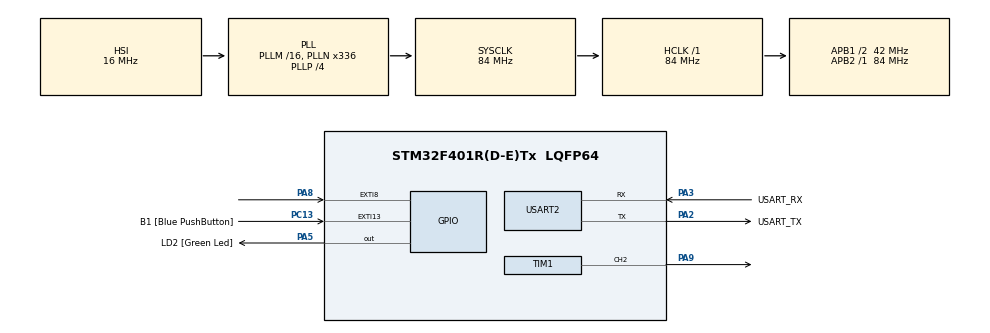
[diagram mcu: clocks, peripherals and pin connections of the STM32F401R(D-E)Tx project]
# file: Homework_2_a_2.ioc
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Mcu.Family=STM32F4
Mcu.Name=STM32F401R(D-E)Tx
Mcu.Package=LQFP64
NVIC.EXTI9_5_IRQn=true\:0\:0\:false\:false\:true\:true\:true\:true
NVIC.PriorityGroup=NVIC_PRIORITYGROUP_0
PA13.GPIO_Label=TMS
PA13.Mode=Serial_Wire
PA13.Signal=SYS_JTMS-SWDIO
PA14.GPIO_Label=TCK
PA14.Mode=Serial_Wire
PA14.Signal=SYS_JTCK-SWCLK
PA2.GPIO_Label=USART_TX
PA2.GPIO_Mode=GPIO_MODE_AF_PP
PA2.GPIO_PuPd=GPIO_NOPULL
PA2.GPIO_Speed=GPIO_SPEED_FREQ_LOW
PA2.Mode=Asynchronous
PA2.Signal=USART2_TX
PA3.GPIO_Label=USART_RX
PA3.GPIO_Mode=GPIO_MODE_AF_PP
PA3.GPIO_PuPd=GPIO_NOPULL
PA3.GPIO_Speed=GPIO_SPEED_FREQ_LOW
PA3.Mode=Asynchronous
PA3.Signal=USART2_RX
PA5.GPIO_Label=LD2 [Green Led]
PA5.GPIO_Mode=GPIO_MODE_OUTPUT_PP
PA5.GPIO_PuPd=GPIO_NOPULL
PA5.GPIO_Speed=GPIO_SPEED_FREQ_LOW
PA5.Signal=GPIO_Output
PA8.Signal=GPXTI8
PA9.Signal=S_TIM1_CH2
PB3.GPIO_Label=SWO
PB3.Signal=SYS_JTDO-SWO
PC13-ANTI_TAMP.GPIO_Label=B1 [Blue PushButton]
PC13-ANTI_TAMP.GPIO_ModeDefaultEXTI=GPIO_MODE_IT_FALLING
PC13-ANTI_TAMP.GPIO_PuPd=GPIO_NOPULL
PC13-ANTI_TAMP.Signal=GPXTI13
PC14-OSC32_IN.Mode=LSE-External-Oscillator
PC14-OSC32_IN.Signal=RCC_OSC32_IN
PC15-OSC32_OUT.Mode=LSE-External-Oscillator
PC15-OSC32_OUT.Signal=RCC_OSC32_OUT
PH0\ -\ OSC_IN.Mode=HSE-External-Clock-Source
PH0\ -\ OSC_IN.Signal=RCC_OSC_IN
PH1\ -\ OSC_OUT.Mode=HSE-External-Clock-Source
PH1\ -\ OSC_OUT.Signal=RCC_OSC_OUT
ProjectManager.HeapSize=0x200
ProjectManager.StackSize=0x400
ProjectManager.TargetToolchain=STM32CubeIDE
RCC.48MHZClocksFreq_Value=48000000
RCC.AHBFreq_Value=84000000
RCC.APB1CLKDivider=RCC_HCLK_DIV2
RCC.APB1Freq_Value=42000000
RCC.APB1TimFreq_Value=84000000
RCC.APB2Freq_Value=84000000
RCC.APB2TimFreq_Value=84000000
RCC.CortexFreq_Value=84000000
RCC.HCLKFreq_Value=84000000
RCC.HSE_VALUE=8000000
RCC.HSI_VALUE=16000000
RCC.PLLN=336
RCC.PLLP=RCC_PLLP_DIV4
RCC.PLLQ=7
RCC.SYSCLKFreq_VALUE=84000000
RCC.SYSCLKSource=RCC_SYSCLKSOURCE_PLLCLK
RCC.VCOOutputFreq_Value=336000000
SH.S_TIM1_CH2.0=TIM1_CH2,PWM Generation2 CH2
TIM1.Channel-PWM\ Generation2\ CH2=TIM_CHANNEL_2
TIM1.Period=1908
TIM1.Prescaler=100-1
TIM1.Pulse-PWM\ Generation2\ CH2=954
USART2.VirtualMode=VM_ASYNC
VP_TIM1_VS_ClockSourceINT.Mode=Internal
board=NUCLEO-F401RE

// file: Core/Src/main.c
/* USER CODE BEGIN Header */
/**
  ******************************************************************************
  * @file           : main.c
  * @brief          : Main program body
  ******************************************************************************
  * @attention
  *
  * Copyright (c) 2023 STMicroelectronics.
  * All rights reserved.
  *
  * This software is licensed under terms that can be found in the LICENSE file
  * in the root directory of this software component.
  * If no LICENSE file comes with this software, it is provided AS-IS.
  *
  ******************************************************************************
  */
/* USER CODE END Header */
#include "main.h"

/* USER CODE BEGIN PTD */

typedef struct Note
{
	int tone;
	int duration;
} Note;

/* USER CODE END PTD */

/* USER CODE BEGIN PD */

#define _DO4 	3206
#define _DOH4 	3032
#define _RE4 	2858
#define _REH4	2700
#define _MI4	2546
#define _FA4 	2406
#define _FAH4	2270
#define _SOL4	2142
#define _SOLH4	2024
#define _LA4	1908
#define _LAH4	1802
#define _SI4	1700

#define TEMPO 75 //[ms] 1/16 note

/* USER CODE END PD */

TIM_HandleTypeDef htim1;

UART_HandleTypeDef huart2;

void SystemClock_Config(void);
static void MX_GPIO_Init(void);
static void MX_USART2_UART_Init(void);
static void MX_TIM1_Init(void);
/* USER CODE BEGIN PFP */
void playNote(Note);
void playSong(void);
/* USER CODE END PFP */

/* USER CODE BEGIN 0 */
static Note song[] = {	{_SOL4,6*TEMPO}, {_LA4, 2*TEMPO}, {_SOL4, 4*TEMPO},
				{_FA4, 4*TEMPO}, {_MI4, 4*TEMPO}, {_FA4, 4*TEMPO},
				{_SOL4, 8*TEMPO}, {_RE4, 4*TEMPO}, {_MI4, 4*TEMPO},
				{_FA4, 8*TEMPO}, {_MI4, 4*TEMPO}, {_FA4, 4*TEMPO},
				{_SOL4, 8*TEMPO}, {_SOL4,6*TEMPO}, {_LA4, 2*TEMPO},
				{_SOL4, 4*TEMPO}, {_FA4, 4*TEMPO}, {_MI4, 4*TEMPO},
				{_FA4, 4*TEMPO}, {_SOL4, 8*TEMPO}, {_RE4, 8*TEMPO},
				{_SOL4, 8*TEMPO}, {_MI4, 4*TEMPO}, {_DO4, 12*TEMPO}};

int startSong;

void HAL_GPIO_EXTI_Callback(uint16_t GPIO_Pin)
{
	switch(GPIO_Pin)
	{
		case GPIO_PIN_8:
			startSong = 1;
			break;
		default:
			break;
	}
}

/* USER CODE END 0 */

int main(void)
{

  /* MCU Configuration--------------------------------------------------------*/

  /* Reset of all peripherals, Initializes the Flash interface and the Systick. */
  HAL_Init();

  /* Configure the system clock */
  SystemClock_Config();

  /* Initialize all configured peripherals */
  MX_GPIO_Init();
  MX_USART2_UART_Init();
  MX_TIM1_Init();
  /* USER CODE BEGIN 2 */
  startSong = 0;
  /* USER CODE END 2 */

  /* Infinite loop */
  while (1)
  {

    /* USER CODE BEGIN 3 */
	  if(startSong)
	  {
		  playSong();
		  startSong = 0;
	  }
  }
  /* USER CODE END 3 */
}

void SystemClock_Config(void)
{
  RCC_OscInitTypeDef RCC_OscInitStruct = {0};
  RCC_ClkInitTypeDef RCC_ClkInitStruct = {0};

  /** Configure the main internal regulator output voltage
  */
  __HAL_RCC_PWR_CLK_ENABLE();
  __HAL_PWR_VOLTAGESCALING_CONFIG(PWR_REGULATOR_VOLTAGE_SCALE2);

  /** Initializes the RCC Oscillators according to the specified parameters
  * in the RCC_OscInitTypeDef structure.
  */
  RCC_OscInitStruct.OscillatorType = RCC_OSCILLATORTYPE_HSI;
  RCC_OscInitStruct.HSIState = RCC_HSI_ON;
  RCC_OscInitStruct.HSICalibrationValue = RCC_HSICALIBRATION_DEFAULT;
  RCC_OscInitStruct.PLL.PLLState = RCC_PLL_ON;
  RCC_OscInitStruct.PLL.PLLSource = RCC_PLLSOURCE_HSI;
  RCC_OscInitStruct.PLL.PLLM = 16;
  RCC_OscInitStruct.PLL.PLLN = 336;
  RCC_OscInitStruct.PLL.PLLP = RCC_PLLP_DIV4;
  RCC_OscInitStruct.PLL.PLLQ = 7;
  if (HAL_RCC_OscConfig(&RCC_OscInitStruct) != HAL_OK)
  {
    Error_Handler();
  }

  /** Initializes the CPU, AHB and APB buses clocks
  */
  RCC_ClkInitStruct.ClockType = RCC_CLOCKTYPE_HCLK|RCC_CLOCKTYPE_SYSCLK
                              |RCC_CLOCKTYPE_PCLK1|RCC_CLOCKTYPE_PCLK2;
  RCC_ClkInitStruct.SYSCLKSource = RCC_SYSCLKSOURCE_PLLCLK;
  RCC_ClkInitStruct.AHBCLKDivider = RCC_SYSCLK_DIV1;
  RCC_ClkInitStruct.APB1CLKDivider = RCC_HCLK_DIV2;
  RCC_ClkInitStruct.APB2CLKDivider = RCC_HCLK_DIV1;

  if (HAL_RCC_ClockConfig(&RCC_ClkInitStruct, FLASH_LATENCY_2) != HAL_OK)
  {
    Error_Handler();
  }
}

static void MX_TIM1_Init(void)
{

  TIM_ClockConfigTypeDef sClockSourceConfig = {0};
  TIM_MasterConfigTypeDef sMasterConfig = {0};
  TIM_OC_InitTypeDef sConfigOC = {0};
  TIM_BreakDeadTimeConfigTypeDef sBreakDeadTimeConfig = {0};

  htim1.Instance = TIM1;
  htim1.Init.Prescaler = 100-1;
  htim1.Init.CounterMode = TIM_COUNTERMODE_UP;
  htim1.Init.Period = 1908;
  htim1.Init.ClockDivision = TIM_CLOCKDIVISION_DIV1;
  htim1.Init.RepetitionCounter = 0;
  htim1.Init.AutoReloadPreload = TIM_AUTORELOAD_PRELOAD_DISABLE;
  if (HAL_TIM_Base_Init(&htim1) != HAL_OK)
  {
    Error_Handler();
  }
  sClockSourceConfig.ClockSource = TIM_CLOCKSOURCE_INTERNAL;
  if (HAL_TIM_ConfigClockSource(&htim1, &sClockSourceConfig) != HAL_OK)
  {
    Error_Handler();
  }
  if (HAL_TIM_PWM_Init(&htim1) != HAL_OK)
  {
    Error_Handler();
  }
  sMasterConfig.MasterOutputTrigger = TIM_TRGO_RESET;
  sMasterConfig.MasterSlaveMode = TIM_MASTERSLAVEMODE_DISABLE;
  if (HAL_TIMEx_MasterConfigSynchronization(&htim1, &sMasterConfig) != HAL_OK)
  {
    Error_Handler();
  }
  sConfigOC.OCMode = TIM_OCMODE_PWM1;
  sConfigOC.Pulse = 954;
  sConfigOC.OCPolarity = TIM_OCPOLARITY_HIGH;
  sConfigOC.OCNPolarity = TIM_OCNPOLARITY_HIGH;
  sConfigOC.OCFastMode = TIM_OCFAST_DISABLE;
  sConfigOC.OCIdleState = TIM_OCIDLESTATE_RESET;
  sConfigOC.OCNIdleState = TIM_OCNIDLESTATE_RESET;
  if (HAL_TIM_PWM_ConfigChannel(&htim1, &sConfigOC, TIM_CHANNEL_2) != HAL_OK)
  {
    Error_Handler();
  }
  sBreakDeadTimeConfig.OffStateRunMode = TIM_OSSR_DISABLE;
  sBreakDeadTimeConfig.OffStateIDLEMode = TIM_OSSI_DISABLE;
  sBreakDeadTimeConfig.LockLevel = TIM_LOCKLEVEL_OFF;
  sBreakDeadTimeConfig.DeadTime = 0;
  sBreakDeadTimeConfig.BreakState = TIM_BREAK_DISABLE;
  sBreakDeadTimeConfig.BreakPolarity = TIM_BREAKPOLARITY_HIGH;
  sBreakDeadTimeConfig.AutomaticOutput = TIM_AUTOMATICOUTPUT_DISABLE;
  if (HAL_TIMEx_ConfigBreakDeadTime(&htim1, &sBreakDeadTimeConfig) != HAL_OK)
  {
    Error_Handler();
  }
  HAL_TIM_MspPostInit(&htim1);

}

static void MX_USART2_UART_Init(void)
{

  huart2.Instance = USART2;
  huart2.Init.BaudRate = 115200;
  huart2.Init.WordLength = UART_WORDLENGTH_8B;
  huart2.Init.StopBits = UART_STOPBITS_1;
  huart2.Init.Parity = UART_PARITY_NONE;
  huart2.Init.Mode = UART_MODE_TX_RX;
  huart2.Init.HwFlowCtl = UART_HWCONTROL_NONE;
  huart2.Init.OverSampling = UART_OVERSAMPLING_16;
  if (HAL_UART_Init(&huart2) != HAL_OK)
  {
    Error_Handler();
  }

}

static void MX_GPIO_Init(void)
{
  GPIO_InitTypeDef GPIO_InitStruct = {0};

  /* GPIO Ports Clock Enable */
  __HAL_RCC_GPIOC_CLK_ENABLE();
  __HAL_RCC_GPIOH_CLK_ENABLE();
  __HAL_RCC_GPIOA_CLK_ENABLE();
  __HAL_RCC_GPIOB_CLK_ENABLE();

  /*Configure GPIO pin Output Level */
  HAL_GPIO_WritePin(LD2_GPIO_Port, LD2_Pin, GPIO_PIN_RESET);

  /*Configure GPIO pin : B1_Pin */
  GPIO_InitStruct.Pin = B1_Pin;
  GPIO_InitStruct.Mode = GPIO_MODE_IT_FALLING;
  GPIO_InitStruct.Pull = GPIO_NOPULL;
  HAL_GPIO_Init(B1_GPIO_Port, &GPIO_InitStruct);

  /*Configure GPIO pin : LD2_Pin */
  GPIO_InitStruct.Pin = LD2_Pin;
  GPIO_InitStruct.Mode = GPIO_MODE_OUTPUT_PP;
  GPIO_InitStruct.Pull = GPIO_NOPULL;
  GPIO_InitStruct.Speed = GPIO_SPEED_FREQ_LOW;
  HAL_GPIO_Init(LD2_GPIO_Port, &GPIO_InitStruct);

  /*Configure GPIO pin : PA8 */
  GPIO_InitStruct.Pin = GPIO_PIN_8;
  GPIO_InitStruct.Mode = GPIO_MODE_IT_RISING;
  GPIO_InitStruct.Pull = GPIO_NOPULL;
  HAL_GPIO_Init(GPIOA, &GPIO_InitStruct);

  /* EXTI interrupt init*/
  HAL_NVIC_SetPriority(EXTI9_5_IRQn, 0, 0);
  HAL_NVIC_EnableIRQ(EXTI9_5_IRQn);

}

/* USER CODE BEGIN 4 */
void playSong(){
	int songLength = sizeof(song)/sizeof(Note);

	for(int i=0; i<songLength; i++)
	{
		playNote(song[i]);
		HAL_Delay(song[i].duration);
	}
	HAL_TIM_PWM_Stop(&htim1, TIM_CHANNEL_2);
}

void playNote(Note currentNote)
{

  /* USER CODE BEGIN TIM1_Init 0 */

  /* USER CODE END TIM1_Init 0 */

  TIM_ClockConfigTypeDef sClockSourceConfig = {0};
  TIM_MasterConfigTypeDef sMasterConfig = {0};
  TIM_OC_InitTypeDef sConfigOC = {0};
  TIM_BreakDeadTimeConfigTypeDef sBreakDeadTimeConfig = {0};

  /* USER CODE BEGIN TIM1_Init 1 */

  /* USER CODE END TIM1_Init 1 */
  htim1.Instance = TIM1;
  htim1.Init.Prescaler = 100-1;
  htim1.Init.CounterMode = TIM_COUNTERMODE_UP;
  htim1.Init.Period = currentNote.tone;
  htim1.Init.ClockDivision = TIM_CLOCKDIVISION_DIV1;
  htim1.Init.RepetitionCounter = 0;
  htim1.Init.AutoReloadPreload = TIM_AUTORELOAD_PRELOAD_DISABLE;
  if (HAL_TIM_Base_Init(&htim1) != HAL_OK)
  {
    Error_Handler();
  }
  sClockSourceConfig.ClockSource = TIM_CLOCKSOURCE_INTERNAL;
  if (HAL_TIM_ConfigClockSource(&htim1, &sClockSourceConfig) != HAL_OK)
  {
    Error_Handler();
  }
  if (HAL_TIM_PWM_Init(&htim1) != HAL_OK)
  {
    Error_Handler();
  }
  sMasterConfig.MasterOutputTrigger = TIM_TRGO_RESET;
  sMasterConfig.MasterSlaveMode = TIM_MASTERSLAVEMODE_DISABLE;
  if (HAL_TIMEx_MasterConfigSynchronization(&htim1, &sMasterConfig) != HAL_OK)
  {
    Error_Handler();
  }
  sConfigOC.OCMode = TIM_OCMODE_PWM1;
  sConfigOC.Pulse = currentNote.tone/2;
  sConfigOC.OCPolarity = TIM_OCPOLARITY_HIGH;
  sConfigOC.OCNPolarity = TIM_OCNPOLARITY_HIGH;
  sConfigOC.OCFastMode = TIM_OCFAST_DISABLE;
  sConfigOC.OCIdleState = TIM_OCIDLESTATE_RESET;
  sConfigOC.OCNIdleState = TIM_OCNIDLESTATE_RESET;
  if (HAL_TIM_PWM_ConfigChannel(&htim1, &sConfigOC, TIM_CHANNEL_2) != HAL_OK)
  {
    Error_Handler();
  }
  sBreakDeadTimeConfig.OffStateRunMode = TIM_OSSR_DISABLE;
  sBreakDeadTimeConfig.OffStateIDLEMode = TIM_OSSI_DISABLE;
  sBreakDeadTimeConfig.LockLevel = TIM_LOCKLEVEL_OFF;
  sBreakDeadTimeConfig.DeadTime = 0;
  sBreakDeadTimeConfig.BreakState = TIM_BREAK_DISABLE;
  sBreakDeadTimeConfig.BreakPolarity = TIM_BREAKPOLARITY_HIGH;
  sBreakDeadTimeConfig.AutomaticOutput = TIM_AUTOMATICOUTPUT_DISABLE;
  if (HAL_TIMEx_ConfigBreakDeadTime(&htim1, &sBreakDeadTimeConfig) != HAL_OK)
  {
    Error_Handler();
  }
  /* USER CODE BEGIN TIM1_Init 2 */

  /* USER CODE END TIM1_Init 2 */
  HAL_TIM_MspPostInit(&htim1);

  HAL_TIM_PWM_Start(&htim1, TIM_CHANNEL_2);

}
/* USER CODE END 4 */

void Error_Handler(void)
{
  __disable_irq();
  while (1)
  {
  }
}
